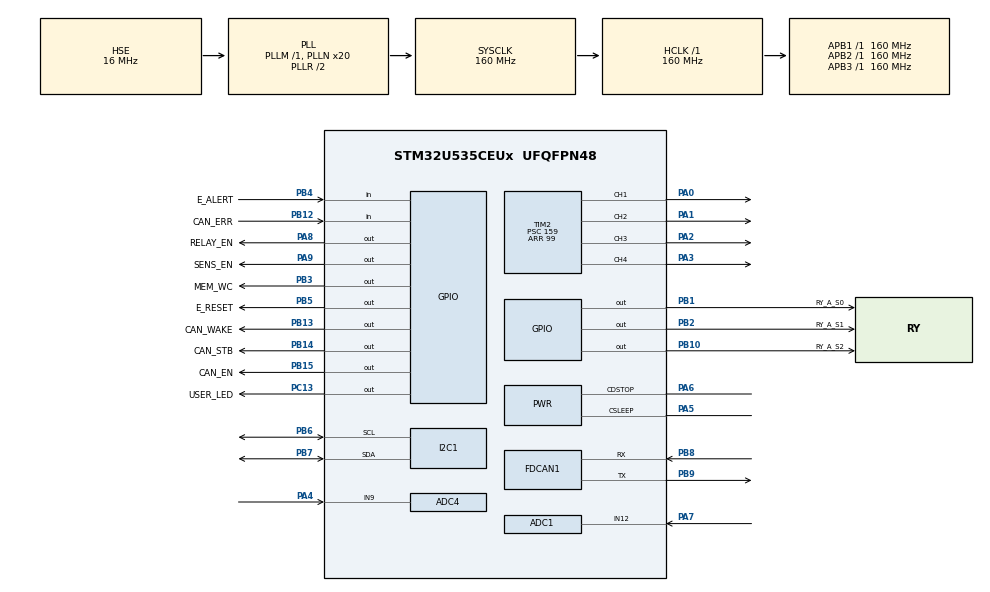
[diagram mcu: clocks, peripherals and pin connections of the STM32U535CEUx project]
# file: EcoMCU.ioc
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ADC1.Channel-0\#ChannelRegularConversion=ADC_CHANNEL_12
ADC1.ClockPrescaler=ADC_CLOCK_ASYNC_DIV2
ADC1.ContinuousConvMode=DISABLE
ADC1.DMAContinuousRequests=DISABLE
ADC1.MonitoredBy-0\#ChannelRegularConversion=__NULL
ADC1.NbrOfConversionFlag=1
ADC1.OffsetNumber-0\#ChannelRegularConversion=ADC_OFFSET_NONE
ADC1.Rank-0\#ChannelRegularConversion=1
ADC1.SamplingTime-0\#ChannelRegularConversion=ADC_SAMPLETIME_5CYCLE
ADC1.master=1
ADC4.Channel-0\#ChannelRegularConversion=ADC_CHANNEL_9
ADC4.ClockPrescaler=ADC_CLOCK_ASYNC_DIV2
ADC4.ContinuousConvMode=DISABLE
ADC4.NbrOfConversion=1
ADC4.NbrOfConversionFlag=1
ADC4.OffsetNumber-0\#ChannelRegularConversion=ADC_OFFSET_NONE
ADC4.Rank-0\#ChannelRegularConversion=1
ADC4.RankArg-0\#ChannelRegularConversion=ADC4_REGULAR_RANK_1
ADC4.SamplingTime-0\#ChannelRegularConversion=ADC4_SAMPLINGTIME_COMMON_1
ADC4.SamplingTimeCommon1=ADC4_SAMPLETIME_39CYCLES_5
ADC4.SamplingTimeCommon2=ADC4_SAMPLETIME_39CYCLES_5
ADC4.SelectedChannel=ADC_CHANNEL_9
ADC4.Sequencer=FULLY_CONFIGURABLE
ADC4.TriggerFrequencyMode=ADC_TRIGGER_FREQ_HIGH
CORTEX_M33_NS.userName=CORTEX_M33
FDCAN1.CalculateBaudRateNominal=1000000
FDCAN1.CalculateTimeBitNominal=1000
FDCAN1.CalculateTimeQuantumNominal=50.0
FDCAN1.DataSyncJumpWidth=8
FDCAN1.DataTimeSeg1=16
FDCAN1.DataTimeSeg2=8
FDCAN1.NominalPrescaler=8
FDCAN1.NominalSyncJumpWidth=64
FDCAN1.NominalTimeSeg1=12
FDCAN1.NominalTimeSeg2=7
I2C1.Timing=0x30909DEC
Mcu.Family=STM32U5
Mcu.Name=STM32U535CEUx
Mcu.Package=UFQFPN48
NVIC.ADC1_IRQn=true\:10\:0\:true\:false\:true\:true\:true\:true
NVIC.ADC4_IRQn=true\:12\:0\:true\:false\:true\:true\:true\:true
NVIC.FDCAN1_IT0_IRQn=true\:13\:0\:true\:false\:true\:true\:true\:true
NVIC.FDCAN1_IT1_IRQn=true\:14\:0\:true\:false\:true\:true\:true\:true
NVIC.I2C1_EV_IRQn=true\:1\:0\:true\:false\:true\:true\:true\:true
NVIC.PriorityGroup=NVIC_PRIORITYGROUP_4
NVIC.TIM7_IRQn=true\:5\:0\:true\:false\:true\:true\:true\:true
PA0.Signal=S_TIM2_CH1
PA1.Signal=S_TIM2_CH2
PA13\ (JTMS/SWDIO).Mode=Serial_Wire
PA13\ (JTMS/SWDIO).Signal=DEBUG_JTMS-SWDIO
PA14\ (JTCK/SWCLK).Mode=Serial_Wire
PA14\ (JTCK/SWCLK).Signal=DEBUG_JTCK-SWCLK
PA2.Signal=S_TIM2_CH3
PA3.Signal=S_TIM2_CH4
PA4.Signal=SharedAnalog_PA4
PA5.Mode=CSLEEP
PA5.Signal=PWR_CSLEEP
PA6.Mode=CDSTOP
PA6.Signal=PWR_CDSTOP
PA7.Mode=IN12-Single-Ended
PA7.Signal=ADC1_IN12
PA8.GPIO_Label=RELAY_EN
PA8.Signal=GPIO_Output
PA9.GPIO_Label=SENS_EN
PA9.Signal=GPIO_Output
PB1.GPIO_Label=RY_A_S0
PB1.Signal=GPIO_Output
PB10.GPIO_Label=RY_A_S2
PB10.Signal=GPIO_Output
PB12.GPIO_Label=CAN_ERR
PB12.Signal=GPIO_Input
PB13.GPIO_Label=CAN_WAKE
PB13.Signal=GPIO_Output
PB14.GPIO_Label=CAN_STB
PB14.Signal=GPIO_Output
PB15.GPIO_Label=CAN_EN
PB15.Signal=GPIO_Output
PB2.GPIO_Label=RY_A_S1
PB2.Signal=GPIO_Output
PB3\ (JTDO/TRACESWO).GPIO_Label=MEM_WC
PB3\ (JTDO/TRACESWO).Signal=GPIO_Output
PB4\ (NJTRST).GPIO_Label=E_ALERT
PB4\ (NJTRST).Signal=GPIO_Input
PB5.GPIO_Label=E_RESET
PB5.Signal=GPIO_Output
PB6.Mode=I2C
PB6.Signal=I2C1_SCL
PB7.Mode=I2C
PB7.Signal=I2C1_SDA
PB8.Mode=FDCAN_Activate
PB8.Signal=FDCAN1_RX
PB9.Mode=FDCAN_Activate
PB9.Signal=FDCAN1_TX
PC13.GPIO_Label=USER_LED
PC13.Signal=GPIO_Output
PC14-OSC32_IN\ (PC14).Mode=LSE-External-Oscillator
PC14-OSC32_IN\ (PC14).Signal=RCC_OSC32_IN
PC15-OSC32_OUT\ (PC15).Mode=LSE-External-Oscillator
PC15-OSC32_OUT\ (PC15).Signal=RCC_OSC32_OUT
PH0-OSC_IN\ (PH0).Mode=HSE-External-Oscillator
PH0-OSC_IN\ (PH0).Signal=RCC_OSC_IN
PH1-OSC_OUT\ (PH1).Mode=HSE-External-Oscillator
PH1-OSC_OUT\ (PH1).Signal=RCC_OSC_OUT
ProjectManager.HeapSize=0x200
ProjectManager.StackSize=0x400
ProjectManager.TargetToolchain=STM32CubeIDE
RCC.ADCCLockSelection=RCC_ADCDACCLKSOURCE_SYSCLK
RCC.ADCFreq_Value=160000000
RCC.AHBFreq_Value=160000000
RCC.APB1Freq_Value=160000000
RCC.APB1TimFreq_Value=160000000
RCC.APB2Freq_Value=160000000
RCC.APB2TimFreq_Value=160000000
RCC.APB3Freq_Value=160000000
RCC.CortexFreq_Value=160000000
RCC.DACCLockSelectionVirtual=RCC_DAC1CLKSOURCE_LSI
RCC.DACCLockSelectionVirtualString=RCC_DAC1CLKSOURCE_LSI
RCC.EPOD_VALUE=16000000
RCC.HCLKFreq_Value=160000000
RCC.HSE_VALUE=16000000
RCC.HSI48_VALUE=48000000
RCC.HSI_VALUE=16000000
RCC.LSIDIV_VALUE=32000
RCC.MSI_VALUE=4000000
RCC.PLL2N=20
RCC.PLL2Source=RCC_PLLSOURCE_HSE
RCC.PLL3Source=RCC_PLLSOURCE_HSE
RCC.PLLN=20
RCC.PLLSourceVirtual=RCC_PLLSOURCE_HSE
RCC.SYSCLKFreq_VALUE=160000000
RCC.SYSCLKSource=RCC_SYSCLKSOURCE_PLLCLK
RCC.USBFreq_Value=48000000
RCC.VCOOutputFreq_Value=320000000
RTC.Minutes=0
SH.S_TIM2_CH1.0=TIM2_CH1,PWM Generation1 CH1
SH.S_TIM2_CH2.0=TIM2_CH2,PWM Generation2 CH2
SH.S_TIM2_CH3.0=TIM2_CH3,PWM Generation3 CH3
SH.S_TIM2_CH4.0=TIM2_CH4,PWM Generation4 CH4
SH.SharedAnalog_PA4.0=ADC4_IN9,IN9
SH.SharedAnalog_PA4.1=ADC1_IN9,IN9-Single-Ended
TIM2.AutoReloadPreload=TIM_AUTORELOAD_PRELOAD_ENABLE
TIM2.Channel-PWM\ Generation1\ CH1=TIM_CHANNEL_1
TIM2.Channel-PWM\ Generation2\ CH2=TIM_CHANNEL_2
TIM2.Channel-PWM\ Generation3\ CH3=TIM_CHANNEL_3
TIM2.Channel-PWM\ Generation4\ CH4=TIM_CHANNEL_4
TIM2.PeriodNoDither=99
TIM2.Prescaler=159
TIM2.PulseNoDither_1=0
TIM7.AutoReloadPreload=TIM_AUTORELOAD_PRELOAD_ENABLE
TIM7.PeriodNoDither=999
TIM7.Prescaler=249
VP_ICACHE_VS_ICACHE.Mode=DirectMappedCache
VP_LPBAMQUEUE_VS_QUEUE.Mode=QUEUEMODE
VP_LPBAM_VS_SIG1.Mode=SmartRun
VP_LPBAM_VS_SIG4.Mode=LPDMA1
VP_MEMORYMAP_VS_MEMORYMAP.Mode=CurAppReg
VP_PWR_VS_SECSignals.Mode=Security/Privilege
VP_PWR_Vdda.Mode=isolationVdda
VP_RTC_VS_RTC_Activate.Mode=RTC_Enabled
VP_RTC_VS_RTC_Calendar.Mode=RTC_Calendar
VP_TIM2_VS_ClockSourceINT.Mode=Internal
VP_TIM7_VS_ClockSourceINT.Mode=Enable_Timer
board=custom

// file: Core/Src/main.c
/* USER CODE BEGIN Header */
/**
  ******************************************************************************
  * @file           : main.c
  * @brief          : Main program body
  ******************************************************************************
  * @attention
  *
  * Copyright (c) 2024 STMicroelectronics.
  * All rights reserved.
  *
  * This software is licensed under terms that can be found in the LICENSE file
  * in the root directory of this software component.
  * If no LICENSE file comes with this software, it is provided AS-IS.
  *
  ******************************************************************************
  */
/* USER CODE END Header */
#include "main.h"
#include "adc.h"
#include "fdcan.h"
#include "i2c.h"
#include "icache.h"
#include "memorymap.h"
#include "rtc.h"
#include "tim.h"
#include "gpio.h"

/* USER CODE BEGIN PV */

uint16_t adcData1[16];
float adcV1[16];

uint16_t adcDataRegister1 = 0;
uint16_t adcDataRegister4 = 0;

float adcVoltage1 = 0;
float adcVoltage4 = 0;

float coil1current1 = 0;
float coil1current4 = 0;

uint16_t dutyCycleR1 = 500;
uint16_t dutyCycleR2 = 500;
uint16_t dutyCycleR3 = 500;
uint16_t dutyCycleR4 = 500;

uint32_t millisLedBlink = 0;
uint16_t pippoCounter = 0;

FDCAN_TxHeaderTypeDef   TxHeaderGeneral;
FDCAN_TxHeaderTypeDef   TxHeader;
//FDCAN_RxHeaderTypeDef   RxHeader;
uint8_t               TxData[64];
//uint8_t               RxData[64];

uint8_t ongoingPreCharge = 0;
uint32_t StartPreChargeTime;

StateMachine previousState = Contactor_Open;
StateMachine currentState = Contactor_Open;

/* USER CODE END PV */

void SystemClock_Config(void);
/* USER CODE BEGIN PFP */

__FORCE_INLINE void HW_RELAY_REG_ON(void);
__FORCE_INLINE void HW_RELAY_REG_OFF(void);

__FORCE_INLINE void HW_SENSORS_REG_ON(void);
__FORCE_INLINE void HW_SENSORS_REG_OFF(void);

__FORCE_INLINE void HW_MUX_CH_SET(uint8_t chNumber);

/* USER CODE END PFP */

/* USER CODE BEGIN 0 */

uint8_t pwmDcTest = 0;

/* USER CODE END 0 */

int main(void)
{

  /* MCU Configuration--------------------------------------------------------*/

  /* Reset of all peripherals, Initializes the Flash interface and the Systick. */
  HAL_Init();

  /* Configure the system clock */
  SystemClock_Config();

  /* Initialize all configured peripherals */
  MX_GPIO_Init();
  MX_FDCAN1_Init();
  MX_ICACHE_Init();
  MX_TIM2_Init();
  MX_ADC4_Init();
  MX_I2C1_Init();
  MX_ADC1_Init();
  MX_RTC_Init();
  MX_TIM7_Init();
  /* USER CODE BEGIN 2 */

  HAL_PWREx_EnableVddA();

  HW_SENSORS_REG_ON();
  HW_RELAY_REG_ON();

  __HAL_TIM_SET_COMPARE(&htim2, TIM_CHANNEL_1, 0);
  __HAL_TIM_SET_COMPARE(&htim2, TIM_CHANNEL_2, 0);
  __HAL_TIM_SET_COMPARE(&htim2, TIM_CHANNEL_3, 0);
  __HAL_TIM_SET_COMPARE(&htim2, TIM_CHANNEL_4, 0);

  HAL_TIM_PWM_Start(&htim2,  TIM_CHANNEL_1);
  HAL_TIM_PWM_Start(&htim2,  TIM_CHANNEL_2);
  //HAL_TIM_PWM_Start(&htim2,  TIM_CHANNEL_3);
  HAL_TIM_PWM_Start(&htim2,  TIM_CHANNEL_4);

  HAL_GPIO_WritePin(GPIOB, GPIO_PIN_15, 1);
  HAL_GPIO_WritePin(GPIOB, GPIO_PIN_14, 1);
  HAL_GPIO_WritePin(GPIOB, GPIO_PIN_13, 1);

  /* Configure all the TX Header for FDCAN2 */
	TxHeaderGeneral.Identifier = 0x200;
	TxHeaderGeneral.IdType = FDCAN_STANDARD_ID;
	TxHeaderGeneral.TxFrameType = FDCAN_DATA_FRAME;
	TxHeaderGeneral.DataLength = FDCAN_DLC_BYTES_8;
	TxHeaderGeneral.ErrorStateIndicator = FDCAN_ESI_ACTIVE;
	TxHeaderGeneral.BitRateSwitch = FDCAN_BRS_OFF;
	TxHeaderGeneral.FDFormat = FDCAN_CLASSIC_CAN;
	TxHeaderGeneral.TxEventFifoControl = FDCAN_NO_TX_EVENTS;
	TxHeaderGeneral.MessageMarker = 0;

	/* Configure the RX message filter mask for FDCAN2 */
		FDCAN_FilterTypeDef sFilterConfig = {0};

		sFilterConfig.IdType = FDCAN_STANDARD_ID;
		sFilterConfig.FilterIndex = 0;
		sFilterConfig.FilterType = FDCAN_FILTER_MASK;
		sFilterConfig.FilterConfig = FDCAN_FILTER_TO_RXFIFO0;
		sFilterConfig.FilterID1 = 0x200;
		sFilterConfig.FilterID2 = 0x210;
		HAL_FDCAN_ConfigFilter(&hfdcan1, &sFilterConfig);

		/* Activate the notification for new data in FIFO0 for FDCAN1*/
		HAL_FDCAN_ActivateNotification(&hfdcan1, FDCAN_IT_RX_FIFO0_NEW_MESSAGE, 0);

		/* Activate the FDCAN1 */
		HAL_FDCAN_Start(&hfdcan1);

  HAL_TIM_Base_Start_IT(&htim7);

  HW_MUX_CH_SET(0);

  //HAL_ADC_Start_IT(&hadc1);

  if (test_EEPROM() != HAL_OK){
  	//Error_Handler();
  }

	TxHeader.Identifier = 0x00000A022;
	TxHeader.DataLength = 0x01;
	TxHeader.TxFrameType = FDCAN_DATA_FRAME;
	TxHeader.ErrorStateIndicator = FDCAN_ESI_ACTIVE;
	TxHeader.BitRateSwitch = FDCAN_BRS_OFF;
	TxHeader.FDFormat = FDCAN_CLASSIC_CAN;
	TxHeader.IdType = FDCAN_STANDARD_ID;
	uint8_t txData = 0x55;

	uint8_t countPreCharge = 0;
  /* USER CODE END 2 */

  /* Infinite loop */
  while (1)
  {

    /* USER CODE BEGIN 3 */

	  __HAL_TIM_SET_COMPARE(&htim2, TIM_CHANNEL_1, pwmDcTest);

	  /*
	   * @brief the led toggle is used to now if the board is still running or an error has raised.
	   */
	  if(HAL_GetTick() >= millisLedBlink + 1000)
	  {
		  millisLedBlink = HAL_GetTick();
		  HAL_GPIO_TogglePin(USER_LED_GPIO_Port, USER_LED_Pin);
	  }

	  switch(currentState){

		  case Contactor_Open:
			  break;

		  case PreCharge:
			  previousState = currentState;
			  if (ongoingPreCharge == 0){
				  StartPreCharge();
			  }
			  if(ongoingPreCharge == 1){
			 		if(millis - StartPreChargeTime > 2000){
			 			__HAL_TIM_SET_COMPARE(&htim2, TIM_CHANNEL_1, 0);
			  			__HAL_TIM_SET_COMPARE(&htim2, TIM_CHANNEL_2, 0);
			  			__HAL_TIM_SET_COMPARE(&htim2, TIM_CHANNEL_3, 0);
			  			__HAL_TIM_SET_COMPARE(&htim2, TIM_CHANNEL_4, 0);
			  			ongoingPreCharge = 0;
			  			currentState = PreChargeDone;
			  		}
			  }
			  break;

		  case PreChargeDone:
			  // Send Data
			  currentState = Contactor_Close;
			  previousState = PreChargeDone;
			  break;

		  case Contactor_Close:
			  previousState = currentState;
			  //EEPROM_Write_PreCharge(uint8_t *pData, uint16_t size);
			  break;

		  case Send_T:
			  //send temp to 0x0000030AA
			  currentState = previousState;
			  previousState = Send_T;
			  break;

		  case Error_SW:
			  previousState = currentState;
			  //EEPROM_Write_ErrorSoftware(uint8_t *pData, uint16_t size);
			  NVIC_SystemReset();
			  break;

		  case Error_T:
			  previousState = currentState;
			  //EEPROM_Write_ErrorTemperature(uint8_t *pData, uint16_t size);
			  break;

		  case Error_V:
			  previousState = currentState;
			  //EEPROM_Write_ErrorVoltage(uint8_t *pData, uint16_t size);
			  break;

		  case Error_C:
			  previousState = currentState;
			  //EEPROM_Write_ErrorCurrent(uint8_t *pData, uint16_t size);
			  break;

		  case Error_P:
			  previousState = currentState;
			  //EEPROM_Write_ErrorPreCharge(uint8_t *pData, uint16_t size);
			  break;

		  case Test:
			  break;

		  default:
			  previousState = currentState;
			  currentState = Error_SW;
	  }

  }
  /* USER CODE END 3 */
}

void SystemClock_Config(void)
{
  RCC_OscInitTypeDef RCC_OscInitStruct = {0};
  RCC_ClkInitTypeDef RCC_ClkInitStruct = {0};

  /** Configure the main internal regulator output voltage
  */
  if (HAL_PWREx_ControlVoltageScaling(PWR_REGULATOR_VOLTAGE_SCALE1) != HAL_OK)
  {
    Error_Handler();
  }

  /** Initializes the CPU, AHB and APB buses clocks
  */
  RCC_OscInitStruct.OscillatorType = RCC_OSCILLATORTYPE_LSI|RCC_OSCILLATORTYPE_HSE;
  RCC_OscInitStruct.HSEState = RCC_HSE_ON;
  RCC_OscInitStruct.LSIState = RCC_LSI_ON;
  RCC_OscInitStruct.LSIDiv = RCC_LSI_DIV1;
  RCC_OscInitStruct.PLL.PLLState = RCC_PLL_ON;
  RCC_OscInitStruct.PLL.PLLSource = RCC_PLLSOURCE_HSE;
  RCC_OscInitStruct.PLL.PLLMBOOST = RCC_PLLMBOOST_DIV1;
  RCC_OscInitStruct.PLL.PLLM = 1;
  RCC_OscInitStruct.PLL.PLLN = 20;
  RCC_OscInitStruct.PLL.PLLP = 2;
  RCC_OscInitStruct.PLL.PLLQ = 2;
  RCC_OscInitStruct.PLL.PLLR = 2;
  RCC_OscInitStruct.PLL.PLLRGE = RCC_PLLVCIRANGE_1;
  RCC_OscInitStruct.PLL.PLLFRACN = 0;
  if (HAL_RCC_OscConfig(&RCC_OscInitStruct) != HAL_OK)
  {
    Error_Handler();
  }

  /** Initializes the CPU, AHB and APB buses clocks
  */
  RCC_ClkInitStruct.ClockType = RCC_CLOCKTYPE_HCLK|RCC_CLOCKTYPE_SYSCLK
                              |RCC_CLOCKTYPE_PCLK1|RCC_CLOCKTYPE_PCLK2
                              |RCC_CLOCKTYPE_PCLK3;
  RCC_ClkInitStruct.SYSCLKSource = RCC_SYSCLKSOURCE_PLLCLK;
  RCC_ClkInitStruct.AHBCLKDivider = RCC_SYSCLK_DIV1;
  RCC_ClkInitStruct.APB1CLKDivider = RCC_HCLK_DIV1;
  RCC_ClkInitStruct.APB2CLKDivider = RCC_HCLK_DIV1;
  RCC_ClkInitStruct.APB3CLKDivider = RCC_HCLK_DIV1;

  if (HAL_RCC_ClockConfig(&RCC_ClkInitStruct, FLASH_LATENCY_4) != HAL_OK)
  {
    Error_Handler();
  }
}

/* USER CODE BEGIN 4 */

/**
  * @brief  This function is used to turn ON the REG4 which powers the RELAYS.
  * @retval None
  */
__FORCE_INLINE void HW_RELAY_REG_ON(void)
{
	HAL_GPIO_WritePin(RELAY_EN_GPIO_Port, RELAY_EN_Pin, 1);
}

/**
  * @brief  This function is used to turn OFF the REG4 which powers the RELAYS.
  * @retval None
  */
__FORCE_INLINE void HW_RELAY_REG_OFF(void)
{
	HAL_GPIO_WritePin(RELAY_EN_GPIO_Port, RELAY_EN_Pin, 0);
}

/**
  * @brief  This function is used to turn ON the REG3 which powers the ANALOG SENSORS.
  * @retval None
  */
__FORCE_INLINE void HW_SENSORS_REG_ON(void)
{
	HAL_GPIO_WritePin(SENS_EN_GPIO_Port, SENS_EN_Pin, 1);
}

/**
  * @brief  This function is used to turn OFF the REG3 which powers the ANALOG SENSORS.
  * @retval None
  */
__FORCE_INLINE void HW_SENSORS_REG_OFF(void)
{
	HAL_GPIO_WritePin(SENS_EN_GPIO_Port, SENS_EN_Pin, 0);
}

/**
  * @brief  This function is used to SELECT the channel connected to the ANALOG MUX.
  * @retval None
  */
__FORCE_INLINE void HW_MUX_CH_SET(uint8_t chNumber)
{
	if(chNumber > 7)
		chNumber = 7;

	HAL_GPIO_WritePin(RY_A_S0_GPIO_Port, RY_A_S0_Pin, readBit(chNumber, 0));
	HAL_GPIO_WritePin(RY_A_S1_GPIO_Port, RY_A_S1_Pin, readBit(chNumber, 1));
	HAL_GPIO_WritePin(RY_A_S2_GPIO_Port, RY_A_S2_Pin, readBit(chNumber, 2));
}

/**
  * @brief  Period elapsed callback in non-blocking mode
  * @param  htim TIM handle
  * @retval None
  */
void HAL_TIM_PeriodElapsedCallback(TIM_HandleTypeDef *htim)
{
	if(htim->Instance == TIM7)
	{
		HAL_ADC_Start_IT(&hadc1);
	}

}

static uint8_t channelCounter = 0;

/**
  * @brief  Conversion complete callback in non-blocking mode.
  * @param hadc ADC handle
  * @retval None
  */
void HAL_ADC_ConvCpltCallback(ADC_HandleTypeDef *hadc)
{
	if(hadc->Instance == ADC1)
	{
		static uint8_t initFlag = 0;

		static ADC_ChannelConfTypeDef sConfig = {0};

		if(initFlag == 0)
		{
			sConfig.Channel = ADC_CHANNEL_9;
			sConfig.Rank = ADC_REGULAR_RANK_1;
			sConfig.SamplingTime = ADC_SAMPLETIME_5CYCLES;
			sConfig.SingleDiff = ADC_SINGLE_ENDED;
			sConfig.OffsetNumber = ADC_OFFSET_NONE;
			sConfig.Offset = 0;

			initFlag = 1;
		}

		//static uint8_t channelCounter = 0;

		adcData1[channelCounter] = HAL_ADC_GetValue(&hadc1);
		adcV1[channelCounter] = map(adcData1[channelCounter], 0, 16383, 0, 3.291);

		/* Configure MCU ADC Channel BEGIN */

		if(sConfig.Channel == ADC_CHANNEL_9)
			sConfig.Channel = ADC_CHANNEL_12;
		else
			sConfig.Channel = ADC_CHANNEL_9;

		HAL_ADC_ConfigChannel(&hadc1, &sConfig);

		/* Configure MCU ADC Channel END */

		if(channelCounter >= 15)
			channelCounter = 0;
		else
			channelCounter++;

		HW_MUX_CH_SET((channelCounter/2));
	}

}

uint8_t economizerOver = 0;

void StartPreCharge(){
	ongoingPreCharge = 1;
	__HAL_TIM_SET_COMPARE(&htim2, TIM_CHANNEL_4, 100);
	HAL_Delay(5);
	__HAL_TIM_SET_COMPARE(&htim2, TIM_CHANNEL_1, 100);
	HAL_Delay(100);
	__HAL_TIM_SET_COMPARE(&htim2, TIM_CHANNEL_1, 40);
	economizerOver = 1;
}

/* USER CODE END 4 */

void Error_Handler(void)
{
  /* USER CODE BEGIN Error_Handler_Debug */
  /* User can add his own implementation to report the HAL error return state */
  __disable_irq();
  while (1)
  {
	  HAL_GPIO_WritePin(USER_LED_GPIO_Port, USER_LED_Pin, GPIO_PIN_SET);
  }
  /* USER CODE END Error_Handler_Debug */
}
